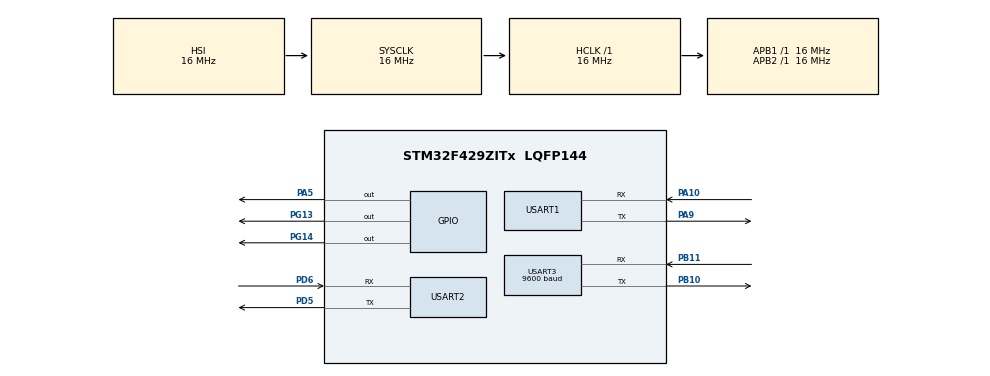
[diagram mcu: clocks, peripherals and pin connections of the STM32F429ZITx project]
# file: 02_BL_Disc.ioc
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FREERTOS.Mutexes01=Mutex1,Dynamic,NULL
FREERTOS.Tasks01=defaultTask,0,128,StartDefaultTask,Default,NULL,Dynamic,NULL,NULL;Task2,0,128,Task2_init,Default,NULL,Dynamic,NULL,NULL;Task3,-3,128,Task3_init,Default,NULL,Dynamic,NULL,NULL
Mcu.Family=STM32F4
Mcu.Name=STM32F429ZITx
Mcu.Package=LQFP144
NVIC.FLASH_IRQn=true\:5\:0\:false\:false\:true\:true\:true\:true\:true
NVIC.FPU_IRQn=true\:5\:0\:false\:false\:true\:true\:true\:false\:true
NVIC.PVD_IRQn=true\:5\:0\:false\:false\:true\:true\:true\:true\:true
NVIC.PriorityGroup=NVIC_PRIORITYGROUP_4
NVIC.RCC_IRQn=true\:5\:0\:false\:false\:true\:true\:true\:false\:true
NVIC.TIM1_UP_TIM10_IRQn=true\:15\:0\:false\:false\:true\:false\:false\:true\:true
NVIC.TimeBase=TIM1_UP_TIM10_IRQn
NVIC.TimeBaseIP=TIM1
NVIC.USART1_IRQn=true\:5\:0\:false\:false\:true\:true\:true\:true\:true
NVIC.USART2_IRQn=true\:5\:0\:false\:false\:true\:true\:true\:true\:true
NVIC.USART3_IRQn=true\:5\:0\:false\:false\:true\:true\:true\:true\:true
PA10.Mode=Asynchronous
PA10.Signal=USART1_RX
PA5.Signal=GPIO_Output
PA9.Mode=Asynchronous
PA9.Signal=USART1_TX
PB10.Mode=Asynchronous
PB10.Signal=USART3_TX
PB11.Mode=Asynchronous
PB11.Signal=USART3_RX
PC14/OSC32_IN.Mode=LSE-External-Oscillator
PC14/OSC32_IN.Signal=RCC_OSC32_IN
PC15/OSC32_OUT.Mode=LSE-External-Oscillator
PC15/OSC32_OUT.Signal=RCC_OSC32_OUT
PD5.Mode=Asynchronous
PD5.Signal=USART2_TX
PD6.Mode=Asynchronous
PD6.Signal=USART2_RX
PG13.Signal=GPIO_Output
PG14.Signal=GPIO_Output
PH0/OSC_IN.Mode=HSE-External-Oscillator
PH0/OSC_IN.Signal=RCC_OSC_IN
PH1/OSC_OUT.Mode=HSE-External-Oscillator
PH1/OSC_OUT.Signal=RCC_OSC_OUT
ProjectManager.HeapSize=0x200
ProjectManager.StackSize=0x400
ProjectManager.TargetToolchain=STM32CubeIDE
RCC.AHBFreq_Value=16000000
RCC.APB1Freq_Value=16000000
RCC.APB2Freq_Value=16000000
RCC.CortexFreq_Value=16000000
RCC.HSE_VALUE=25000000
RCC.HSI_VALUE=16000000
RCC.SYSCLKFreq_VALUE=16000000
RCC.VCOOutputFreq_Value=192000000
USART1.VirtualMode=VM_ASYNC
USART2.VirtualMode=VM_ASYNC
USART3.BaudRate=9600
USART3.VirtualMode=VM_ASYNC
VP_CRC_VS_CRC.Mode=CRC_Activate
VP_FREERTOS_VS_CMSIS_V1.Mode=CMSIS_V1
VP_SYS_VS_tim1.Mode=TIM1
board=custom

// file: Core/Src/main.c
/* USER CODE BEGIN Header */
/**
  ******************************************************************************
  * @file           : main.c
  * @brief          : Main program body
  ******************************************************************************
  * @attention
  *
  * Copyright (c) 2024 STMicroelectronics.
  * All rights reserved.
  *
  * This software is licensed under terms that can be found in the LICENSE file
  * in the root directory of this software component.
  * If no LICENSE file comes with this software, it is provided AS-IS.
  *
  ******************************************************************************
  */
/* USER CODE END Header */
#include "main.h"
#include "cmsis_os.h"
#include "crc.h"
#include "usart.h"
#include "gpio.h"

void SystemClock_Config(void);
void MX_FREERTOS_Init(void);

/* USER CODE BEGIN 0 */
uint32_t Validity_Marker __attribute__((section(".marker_data")))=0xA0A0;
/* USER CODE END 0 */

int main(void)
{

  /* MCU Configuration--------------------------------------------------------*/

  /* Reset of all peripherals, Initializes the Flash interface and the Systick. */
  HAL_Init();

  /* Configure the system clock */
  SystemClock_Config();

  /* Initialize all configured peripherals */
  MX_GPIO_Init();
  MX_USART2_UART_Init();
  MX_USART1_UART_Init();
  MX_CRC_Init();
  MX_USART3_UART_Init();
;
  /* Call init function for freertos objects (in freertos.c) */
  MX_FREERTOS_Init();

  /* Start scheduler */
  osKernelStart();

  /* We should never get here as control is now taken by the scheduler */
  /* Infinite loop */
  /* USER CODE BEGIN WHILE */

//  HAL_UART_Receive_IT(&huart1, &RecVal, 1);

//  HAL_GPIO_WritePin(GPIOG, GPIO_PIN_13, 1);
 // toggleBankAndReset() ;

  while (1)
  {
    /* USER CODE END WHILE */

    /* USER CODE BEGIN 3 */
//
//	  HAL_UART_Receive(&huart3, &indecator_Var, 1, HAL_MAX_DELAY);
//	    				if (0x7F == indecator_Var)
//	    				    BL_UART_Fetch_Host_Command();

	//  void toggleBankAndReset() ;

  }
  /* USER CODE END 3 */
}

void SystemClock_Config(void)
{
  RCC_OscInitTypeDef RCC_OscInitStruct = {0};
  RCC_ClkInitTypeDef RCC_ClkInitStruct = {0};

  /** Configure the main internal regulator output voltage
  */
  __HAL_RCC_PWR_CLK_ENABLE();
  __HAL_PWR_VOLTAGESCALING_CONFIG(PWR_REGULATOR_VOLTAGE_SCALE3);

  /** Initializes the RCC Oscillators according to the specified parameters
  * in the RCC_OscInitTypeDef structure.
  */
  RCC_OscInitStruct.OscillatorType = RCC_OSCILLATORTYPE_HSI;
  RCC_OscInitStruct.HSIState = RCC_HSI_ON;
  RCC_OscInitStruct.HSICalibrationValue = RCC_HSICALIBRATION_DEFAULT;
  RCC_OscInitStruct.PLL.PLLState = RCC_PLL_NONE;
  if (HAL_RCC_OscConfig(&RCC_OscInitStruct) != HAL_OK)
  {
    Error_Handler();
  }

  /** Initializes the CPU, AHB and APB buses clocks
  */
  RCC_ClkInitStruct.ClockType = RCC_CLOCKTYPE_HCLK|RCC_CLOCKTYPE_SYSCLK
                              |RCC_CLOCKTYPE_PCLK1|RCC_CLOCKTYPE_PCLK2;
  RCC_ClkInitStruct.SYSCLKSource = RCC_SYSCLKSOURCE_HSI;
  RCC_ClkInitStruct.AHBCLKDivider = RCC_SYSCLK_DIV1;
  RCC_ClkInitStruct.APB1CLKDivider = RCC_HCLK_DIV1;
  RCC_ClkInitStruct.APB2CLKDivider = RCC_HCLK_DIV1;

  if (HAL_RCC_ClockConfig(&RCC_ClkInitStruct, FLASH_LATENCY_0) != HAL_OK)
  {
    Error_Handler();
  }
}

void HAL_TIM_PeriodElapsedCallback(TIM_HandleTypeDef *htim)
{
  if (htim->Instance == TIM1) {
    HAL_IncTick();
  }
}

void Error_Handler(void)
{
  __disable_irq();
  while (1)
  {
  }
}

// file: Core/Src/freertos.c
/* USER CODE BEGIN Header */
/**
  ******************************************************************************
  * File Name          : freertos.c
  * Description        : Code for freertos applications
  ******************************************************************************
  * @attention
  *
  * Copyright (c) 2024 STMicroelectronics.
  * All rights reserved.
  *
  * This software is licensed under terms that can be found in the LICENSE file
  * in the root directory of this software component.
  * If no LICENSE file comes with this software, it is provided AS-IS.
  *
  ******************************************************************************
  */
/* USER CODE END Header */

#include "FreeRTOS.h"
#include "task.h"
#include "main.h"
#include "cmsis_os.h"
#include "usart.h"

/* USER CODE BEGIN PTD */
SemaphoreHandle_t SimpleMutex;

/* USER CODE END PTD */

osThreadId defaultTaskHandle;
osThreadId Task2Handle;
osThreadId Task3Handle;
osMutexId Mutex1Handle;

/* USER CODE BEGIN FunctionPrototypes */
//volatile uint8_t indecator_Var, dummy;
/* USER CODE END FunctionPrototypes */

void StartDefaultTask(void const * argument);
void Task2_init(void const * argument);
void Task3_init(void const * argument);

void MX_FREERTOS_Init(void); /* (MISRA C 2004 rule 8.1) */

/* GetIdleTaskMemory prototype (linked to static allocation support) */
void vApplicationGetIdleTaskMemory( StaticTask_t **ppxIdleTaskTCBBuffer, StackType_t **ppxIdleTaskStackBuffer, uint32_t *pulIdleTaskStackSize );

/* USER CODE BEGIN GET_IDLE_TASK_MEMORY */
static StaticTask_t xIdleTaskTCBBuffer;
static StackType_t xIdleStack[configMINIMAL_STACK_SIZE];

void vApplicationGetIdleTaskMemory( StaticTask_t **ppxIdleTaskTCBBuffer, StackType_t **ppxIdleTaskStackBuffer, uint32_t *pulIdleTaskStackSize )
{
  *ppxIdleTaskTCBBuffer = &xIdleTaskTCBBuffer;
  *ppxIdleTaskStackBuffer = &xIdleStack[0];
  *pulIdleTaskStackSize = configMINIMAL_STACK_SIZE;
  /* place for user code */
}
/* USER CODE END GET_IDLE_TASK_MEMORY */

void MX_FREERTOS_Init(void) {
  /* Create the mutex(es) */
  /* definition and creation of Mutex1 */
  osMutexDef(Mutex1);
  Mutex1Handle = osMutexCreate(osMutex(Mutex1));

  /* Create the thread(s) */
  /* definition and creation of defaultTask */
  osThreadDef(defaultTask, StartDefaultTask, -1, 0, 128);
  defaultTaskHandle = osThreadCreate(osThread(defaultTask), NULL);

  /* definition and creation of Task2 */
  osThreadDef(Task2, Task2_init, osPriorityNormal, 0, 128);
  Task2Handle = osThreadCreate(osThread(Task2), NULL);

  /* definition and creation of Task3 */
//  osThreadDef(Task3, Task3_init, osPriorityIdle, 0, 128);
//  Task3Handle = osThreadCreate(osThread(Task3), NULL);

}

volatile uint8_t indecator_Var, dummy;
volatile uint8_t RecVal;
volatile uint8_t FIRMWARE_UPDATE_TRIGGER = 0x7F;
void StartDefaultTask(void const * argument)
{
  /* USER CODE BEGIN StartDefaultTask */
  /* Infinite loop */
  for(;;)
  {
   HAL_UART_Receive_IT(&huart1, &RecVal, 1);
   HAL_UART_Receive(&huart3, &indecator_Var, 1, HAL_MAX_DELAY);
  	    if (0x7F == indecator_Var)
  	     BL_UART_Fetch_Host_Command();
 	     osDelay(65);
  }
  /* USER CODE END StartDefaultTask */
}

void Task2_init(void const * argument)
{
  /* USER CODE BEGIN Task2_init */
  /* Infinite loop */
  for(;;)
  {
      HAL_GPIO_TogglePin(GPIOG, GPIO_PIN_13);
//      HAL_Delay(100);
      osDelay(500);
  }
  /* USER CODE END Task2_init */
}

void Task3_init(void const * argument)
{
  /* USER CODE BEGIN Task3_init */
  /* Infinite loop */
  for(;;)
  {
    //osDelay(1);
  }
  /* USER CODE END Task3_init */
}

/* USER CODE BEGIN Application */
void HAL_UART_RxCpltCallback(UART_HandleTypeDef *huart) {
//    UNUSED(huart);

    	HAL_UART_Receive_IT(&huart1, &RecVal, 1);
    			    if (FIRMWARE_UPDATE_TRIGGER == RecVal)
    			    {
    						  /* Send Acknowledge */
    						  uint8_t ackValue = 0xCD;
    						  HAL_UART_Transmit(&huart1, &ackValue, 1, HAL_MAX_DELAY);
    						  /* System reset (Jump to Bootloader) */
    						  HAL_NVIC_SystemReset();
    				 }

    			    if (RecVal == 0x66)
    			    { // Example command byte from ESP
    			   	            // get active bank here..
    			   	            uint8_t mode = get_Active_Bank_no();
    			   	            HAL_UART_Transmit(&huart1, &mode, 1, 10); // Send  active bank
    			   	 }

    			    if (RecVal == 0x8C)
    			     {
    			    	toggleBankAndReset();
    			     }

    			    if (RecVal == 0x4C)
    			     {
    			    	/*  check validity marker  */
    			    	check_ValidityMarker();
    			     }

}
/* USER CODE END Application */
